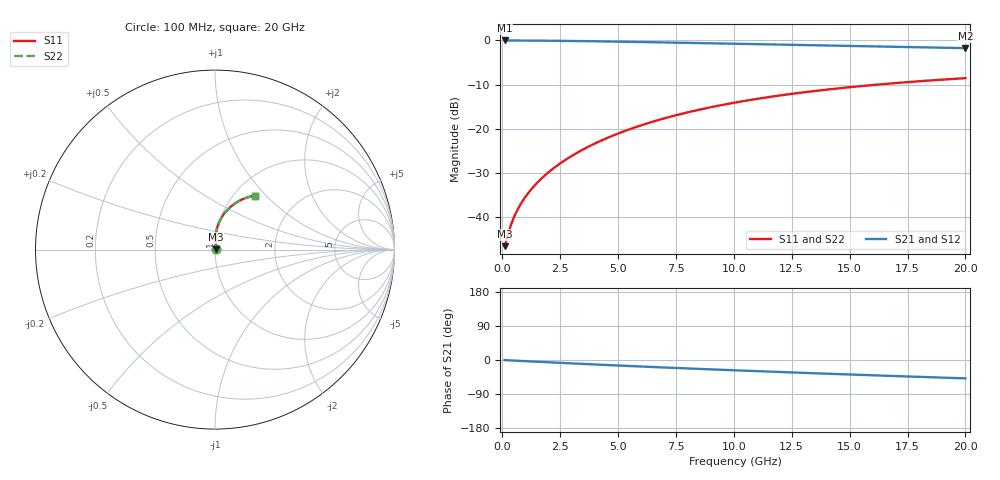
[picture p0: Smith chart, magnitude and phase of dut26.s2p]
! Touchstone file exported from HFSS 2024.1.0
!  File:  C:/UserFiles/LocalFiles/RDL_TSV_Batchsim/temp_RDL_top_26_1778680408.aedt
!  Generated:  09:55:47 PM May 13, 2026
!  Design:  RDL_top
!  Project:  temp_RDL_top_26_1778680408
!  Setup:  Setup1
!  Solution:  Sweep
! Variables:
!  dtsv = 10.80580581um
!  hbump = 3um
!  htsv = 84.31um
!  ldown = 100um
!  lrdl = 687.1um
!  p = 40
!  p1 = 56.9um
!  rhole = 1um
!  t = 450um
!  tdown = 3.915915916um
!  trdl = 2.09um
!  wdown = 15.38538539um
!  wrdl = 29.49um
# GHz S MA R 50.000000
! Terminal data exported
! Port[1] = Box2_T1
! Port[2] = Box2_T2
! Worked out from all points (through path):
!   200 points, 100 MHz to 20 GHz, reference 50 ohm
!   highest |S21| = -0.04 dB at 100 MHz (marker M1); lowest = -1.8 dB at 20 GHz (marker M2)
!   group delay of S21, straight-line fit = 6.65 ps
!   lowest |S11| = -46.5 dB at 100 MHz (marker M3), VSWR 1.01, Z = 50.4 + j0.188 ohm
!   |S11| at or under -10 dB: start of sweep to 16.23 GHz
!   |S22| runs from -46.5 to -8.6 dB; largest |S21 - S12| = 2e-15
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0.1  0.004717 23.3  0.9956 -0.3  0.9956 -0.3  0.004717 23.3
! Gamma 0 0 0 0
! Port Impedance 50 0 50 0
0.3  0.007139 48.9  0.9951 -1.0  0.9951 -1.0  0.007139 48.9
0.4  0.008549 55.1  0.9948 -1.3  0.9948 -1.3  0.008549 55.1
0.5  0.009963 59.5  0.9945 -1.6  0.9945 -1.6  0.009963 59.5
0.6  0.01137 62.8  0.9942 -1.9  0.9942 -1.9  0.01137 62.8
0.7  0.01277 65.5  0.9938 -2.2  0.9938 -2.2  0.01277 65.5
0.9  0.0156 69.8  0.9932 -2.8  0.9932 -2.8  0.0156 69.8
1.2  0.01994 74.4  0.9921 -3.7  0.9921 -3.7  0.01994 74.4
1.7  0.02754 79.4  0.9901 -5.2  0.9901 -5.2  0.02754 79.4
2.2  0.03559 82.5  0.9875 -6.7  0.9875 -6.7  0.03559 82.5
2.8  0.04585 84.8  0.9837 -8.4  0.9837 -8.4  0.04584 84.8
3.5  0.0586 86.2  0.9785 -10.4  0.9785 -10.4  0.05859 86.1
4.2  0.07213 86.6  0.9727 -12.4  0.9727 -12.4  0.0721 86.6
5  0.08837 86.4  0.9655 -14.6  0.9655 -14.6  0.08833 86.4
5.9  0.1074 85.4  0.9568 -17.0  0.9568 -17.0  0.1074 85.4
6.8  0.1269 84.0  0.9478 -19.3  0.9478 -19.3  0.1269 83.9
8.4  0.1621 80.6  0.9313 -23.3  0.9313 -23.3  0.162 80.6
10.1  0.1989 76.6  0.9136 -27.4  0.9136 -27.4  0.1987 76.6
11.7  0.2322 72.7  0.8971 -31.0  0.8971 -31.0  0.232 72.6
13.4  0.2656 68.5  0.8796 -34.8  0.8796 -34.8  0.2654 68.5
16.7  0.3239 60.8  0.8466 -41.8  0.8466 -41.8  0.3237 60.7
20  0.3733 53.7  0.815 -48.4  0.815 -48.4  0.3729 53.6
